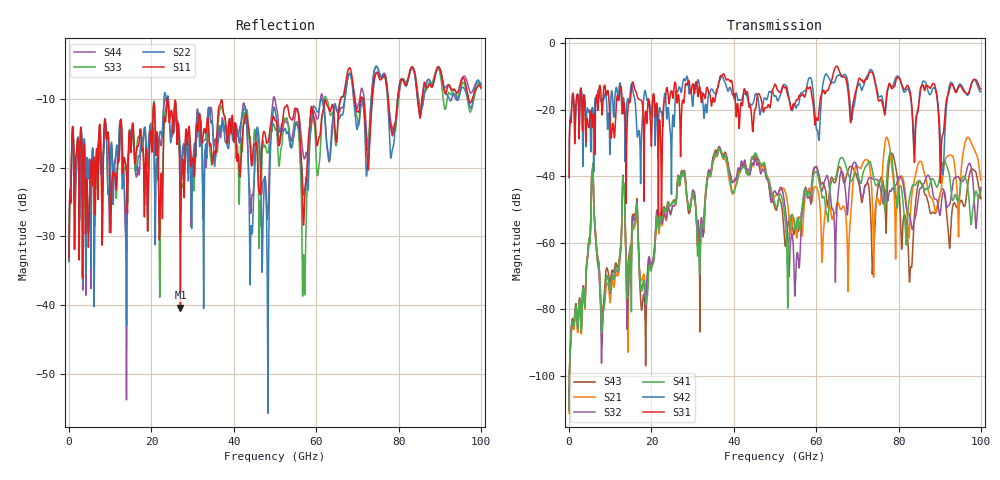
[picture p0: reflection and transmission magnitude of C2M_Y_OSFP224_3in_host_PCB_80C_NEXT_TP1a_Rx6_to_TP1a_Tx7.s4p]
# GHz S RI R 45
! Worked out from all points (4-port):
!   4000 points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, 25 MHz to 100 GHz, reference 45 ohm
!   strongest paths, dB at 25 MHz, 25.02 GHz, 50.02 GHz, 75.03 GHz, 100 GHz:
!     S31: -40.2, -14.6, -12.4, -16.8, -13.8
!     S42: -40.5, -26.4, -15.9, -15.6, -14.6
!     S41: -110.3, -48.3, -48.2, -42.1, -44.2
!     S32: -110.3, -49.5, -44.5, -41.4, -43.4
!     S21: -111.2, -49.5, -45.9, -47.0, -41.2
!     S43: -109.3, -48.0, -49.6, -43.3, -46.7
!   lowest |S11| = -40.4 dB at 27.05 GHz (marker M1), VSWR 1.02, Z = 45.6 + j0.585 ohm
!   |S11| at or under -10 dB: start of sweep to 23.82 GHz; 23.98 GHz to 65.98 GHz (42 GHz wide, 93.4 % of centre); 77.5 GHz to 79.79 GHz (2.295 GHz wide, 2.92 % of centre) (the widest 3 of 7)
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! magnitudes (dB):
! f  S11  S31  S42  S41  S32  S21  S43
! 25 MHz  -33.2  -40.2  -40.5  -110.3  -110.3  -111.2  -109.3
! 5.75 GHz  -21.3  -23.8  -20.0  -36.9  -37.2  -37.1  -37.0
! 8.125 GHz  -28.0  -20.3  -16.9  -84.0  -82.9  -80.7  -85.7
! 13.2 GHz  -20.2  -19.3  -16.3  -42.4  -42.6  -42.7  -42.3
! 18.3 GHz  -27.2  -28.4  -14.8  -71.9  -73.8  -70.2  -77.0
! 27.05 GHz  -40.4  -32.3  -14.1  -40.8  -40.7  -41.5  -40.0
! 100 GHz  -8.3  -13.8  -14.6  -44.2  -43.4  -41.2  -46.7
